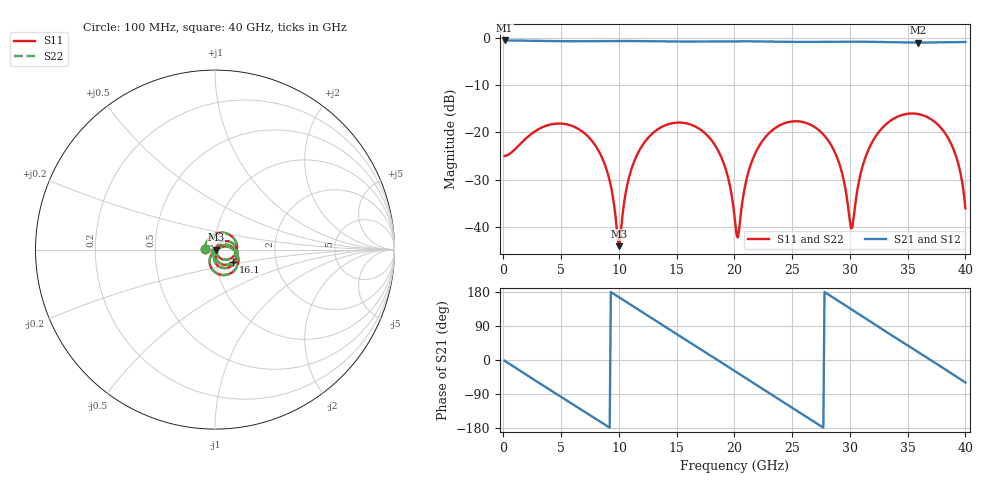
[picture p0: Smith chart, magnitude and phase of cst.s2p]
! thru_ts6_L3: 2×thru, L3, 8 mm
! stackup: ThunderScope Rev5.3 6-layer (FR408HR / FR-4, from the board file)
! ports: 1, 2
! CST Studio Suite 2025.5 Release from 2025-05-30, time domain (FIT, hexahedral, PBA), 77532 mesh cells, 19 s
! mesh: {'lpw': 20, 'lpb': 20, 'minstep': 0.0, 'ratio': 20}; ports: port 1 (face); port 2 (face)
! interpolated from CST's 1001 samples to the case grid
# Hz S RI R 50
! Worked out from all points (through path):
!   400 points, 100 MHz to 40 GHz, reference 50 ohm
!   highest |S21| = -0.51 dB at 100 MHz (marker M1); lowest = -1.0 dB at 35.9 GHz (marker M2)
!   group delay of S21, straight-line fit = 54.1 ps
!   lowest |S11| = -44.1 dB at 10 GHz (marker M3), VSWR 1.01, Z = 50.6 - j0.0629 ohm
!   |S11| at or under -10 dB: start of sweep to end of sweep
!   |S22| runs from -44.1 to -16.0 dB; largest |S21 - S12| = 4.2e-07
!   S11 on the Smith chart (normalised r, x): 100 MHz: 0.89, +0.01; 16.1 GHz: 1.21, -0.17; 40 GHz: 0.98, -0.03
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1e8  -0.056 0.00564  0.9422 -0.0325  0.9422 -0.0325  -0.056 0.00564
3.6e9  0.0851 0.0799  0.31 -0.8778  0.31 -0.8778  0.0851 0.0799
6.8e9  0.0915 -0.0473  -0.6209 -0.6853  -0.6209 -0.6853  0.0915 -0.0473
8.9e9  0.0176 -0.0375  -0.9214 -0.1155  -0.9214 -0.1155  0.0176 -0.0375
1e10  0.00623 -0.000621  -0.901 0.2304  -0.901 0.2304  0.00623 -0.000621
1.11e10  0.0242 0.0339  -0.7531 0.5448  -0.7531 0.5448  0.0242 0.0339
1.34e10  0.1048 0.0293  -0.1484 0.9112  -0.1484 0.9112  0.1048 0.0293
1.61e10  0.1011 -0.0694  0.6243 0.6727  0.6243 0.6727  0.1011 -0.0694
1.88e10  0.0086 -0.0564  0.9184 -0.0833  0.9184 -0.0833  0.0086 -0.0564
2.01e10  0.00428 -0.00926  0.7948 -0.4709  0.7948 -0.4709  0.00428 -0.00926
2.03e10  0.00735 -0.00241  0.7607 -0.5243  0.7607 -0.5243  0.00735 -0.00241
2.11e10  0.028 0.0192  0.5898 -0.7103  0.5898 -0.7103  0.028 0.0192
2.25e10  0.0806 0.0228  0.195 -0.8985  0.195 -0.8985  0.0806 0.0228
2.45e10  0.1197 -0.0431  -0.4089 -0.815  -0.4089 -0.815  0.1197 -0.0431
2.67e10  0.06 -0.1028  -0.85 -0.3244  -0.85 -0.3244  0.06 -0.1028
2.89e10  -0.00493 -0.0537  -0.8484 0.3424  -0.8484 0.3424  -0.00493 -0.0537
3.01e10  0.00635 -0.00734  -0.6406 0.6551  -0.6406 0.6551  0.00635 -0.00734
3.13e10  0.0498 0.0172  -0.3219 0.8558  -0.3219 0.8558  0.0498 0.0172
3.34e10  0.1261 -0.0324  0.3188 0.8457  0.3188 0.8457  0.1261 -0.0324
3.59e10  0.0769 -0.1367  0.8356 0.3214  0.8356 0.3214  0.0769 -0.1367
3.87e10  -0.0297 -0.073  0.754 -0.4991  0.754 -0.4991  -0.0297 -0.073
4e10  -0.0082 -0.0135  0.462 -0.7807  0.462 -0.7807  -0.00821 -0.0135
